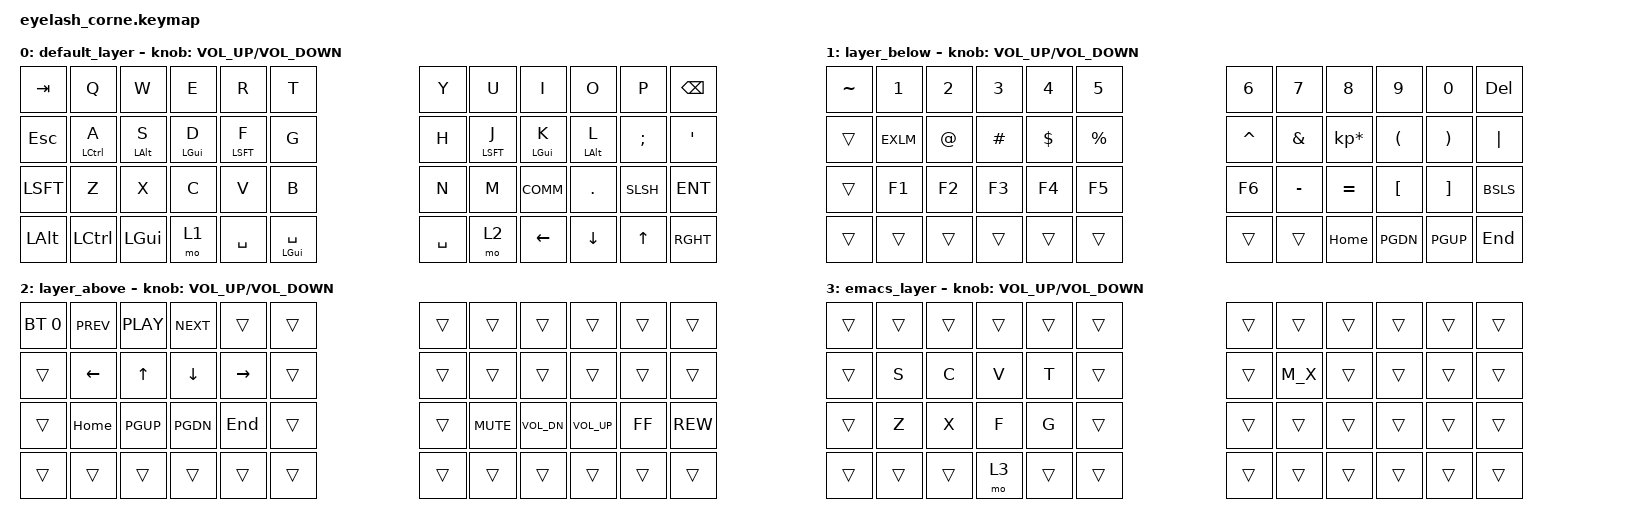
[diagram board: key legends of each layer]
#include <dt-bindings/zmk/mouse.h>
#include <behaviors.dtsi>
#include <dt-bindings/zmk/bt.h>
#include <dt-bindings/zmk/keys.h>
#include <dt-bindings/zmk/rgb.h>

/dts-v1/;

/ {
    behaviors {
        tp: tap_preferred {
            compatible = "zmk,behavior-hold-tap";
            label = "TAP_PREFERRED";
            #binding-cells = <2>;
            tapping-term-ms = <150>;
            quick-tap-ms = <0>;
            flavor = "tap-preferred";
            bindings = <&kp>, <&kp>;
        };
    };

    keymap {
        compatible = "zmk,keymap";
        label = "Purcell Corne Keymap";

        default_layer {
            bindings = <
                &kp TAB      &kp Q     &kp W     &kp E     &kp R     &kp T                       &kp Y     &kp U     &kp I     &kp O     &kp P     &kp BSPC
                &kp ESC      &mt LCTL A &mt LALT S &mt LGUI D &mt LSFT F &kp G                       &kp H     &mt LSFT J &mt LGUI K &mt LALT L &kp SCLN &kp QUOT
                &kp LSFT     &kp Z     &kp X     &kp C     &kp V     &kp B                       &kp N     &kp M     &kp COMM  &kp DOT   &kp SLSH  &kp ENT
                &kp LALT     &kp LCTRL &kp LGUI  &mo 1     &kp SPC   &mt LGUI SPACE                     &kp SPC   &mo 2     &kp LEFT  &kp DOWN  &kp UP    &kp RGHT
            >;
            sensor-bindings = <&inc_dec_kp C_VOLUME_UP C_VOLUME_DOWN>;
        };

        layer_below {
            bindings = <
                &kp TILDE    &kp N1    &kp N2    &kp N3    &kp N4    &kp N5                      &kp N6    &kp N7    &kp N8    &kp N9    &kp N0    &kp DEL
                &trans       &kp EXLM  &kp AT    &kp HASH  &kp DLLR  &kp PRCNT                   &kp CARET &kp AMPS  &kp KP_MULTIPLY &kp LPAR  &kp RPAR &kp PIPE
                &trans       &kp F1    &kp F2    &kp F3    &kp F4    &kp F5                      &kp F6    &kp MINUS &kp EQUAL &kp LBKT  &kp RBKT  &kp BSLS
                &trans       &trans    &trans    &trans    &trans    &trans                      &trans    &trans    &kp HOME  &kp PGDN  &kp PGUP  &kp END
            >;
            sensor-bindings = <&inc_dec_kp C_VOLUME_UP C_VOLUME_DOWN>;
        };

        layer_above {
            bindings = <
                &bt BT_SEL 0 &kp C_PREV &kp C_PLAY &kp C_NEXT &trans    &trans                      &trans    &trans    &trans    &trans    &trans    &trans
                &trans       &kp LEFT   &kp UP     &kp DOWN   &kp RIGHT &trans                      &trans    &trans    &trans    &trans    &trans    &trans
                &trans       &kp HOME   &kp PGUP   &kp PGDN   &kp END   &trans                      &trans    &kp C_MUTE &kp C_VOL_DN &kp C_VOL_UP &kp C_FF &kp C_REW
                &trans       &trans     &trans     &trans     &trans    &trans                      &trans    &trans    &trans    &trans    &trans    &trans
            >;
            sensor-bindings = <&inc_dec_kp C_VOLUME_UP C_VOLUME_DOWN>;
        };

        emacs_layer {
            bindings = <
                &trans &trans &trans &trans &trans &trans &trans &trans &trans &trans &trans &trans
                &trans &kp C_S &kp C_C &kp C_V &kp C_T &trans &trans &kp M_X &trans &trans &trans &trans
                &trans &kp C_Z &kp C_X &kp C_F &kp C_G &trans &trans &trans &trans &trans &trans &trans
                &trans &trans &trans &mo 3 &trans &trans &trans &trans &trans &trans &trans &trans
            >;
            sensor-bindings = <&inc_dec_kp C_VOLUME_UP C_VOLUME_DOWN>;
        };
    };
};
